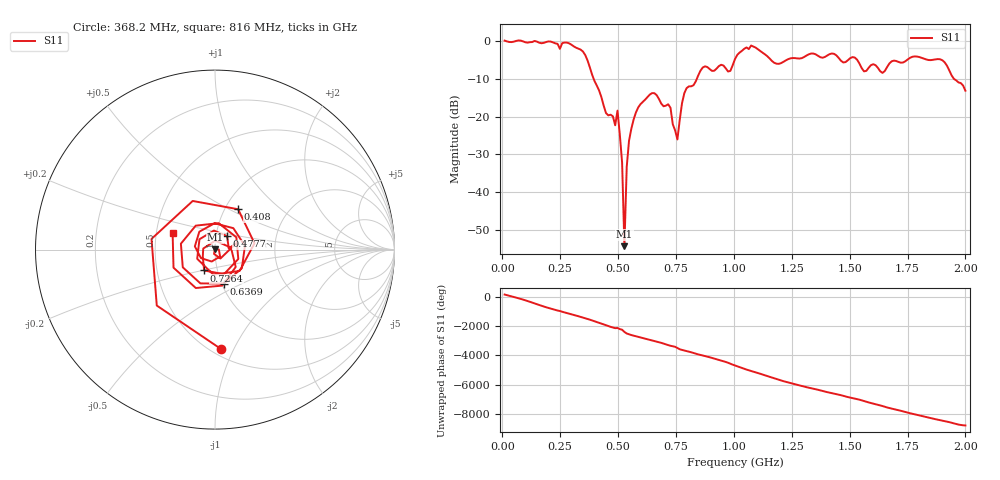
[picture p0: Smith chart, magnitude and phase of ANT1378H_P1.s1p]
!Created with skrf (http://scikit-rf.org).
# Hz S RI R 50.0
!freq ReS11 ImS11
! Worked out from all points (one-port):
!   201 points, 10 MHz to 2 GHz, reference 50 ohm
!   lowest |S11| = -54.4 dB at 527.4 MHz (marker M1), VSWR 1.00, Z = 49.9 + j0.182 ohm
!   |S11| at or under -10 dB: 394.9 MHz to 839.9 MHz (445 MHz wide, 72.1 % of centre); 1.951 GHz to end of sweep
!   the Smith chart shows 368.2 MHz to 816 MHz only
!   S11 on the Smith chart (normalised r, x): 368.2 MHz: 0.56, -0.90; 408 MHz: 1.15, +0.56; 477.6 MHz: 1.13, +0.17; 636.9 MHz: 1.03, -0.40; 726.4 MHz: 0.86, -0.20; 816 MHz: 0.61, +0.12
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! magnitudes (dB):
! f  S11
! 10 MHz  0.2
! 258.8 MHz  -0.5
! 368.2 MHz  -5.1
! 408 MHz  -11.7
! 477.6 MHz  -19.9
! 487.6 MHz  -22.3
! 497.6 MHz  -18.4
! 507.5 MHz  -24.7
! 517.5 MHz  -32.2
! 527.4 MHz  -54.4
! 537.4 MHz  -33.4
! 547.3 MHz  -26.4
! 577.1 MHz  -18.9
! 636.9 MHz  -14.2
! 726.4 MHz  -17.7
! 756.2 MHz  -26.1
! 786.1 MHz  -13.8
! 816 MHz  -11.9
! 865.7 MHz  -7.0
! 975.1 MHz  -8.0
! 1.005 GHz  -4.7
! 1.075 GHz  -1.1
! 1.254 GHz  -4.4
! 1.502 GHz  -4.5
! 1.642 GHz  -8.4
! 1.751 GHz  -4.8
! 1.901 GHz  -5.0
! 2 GHz  -13.1
